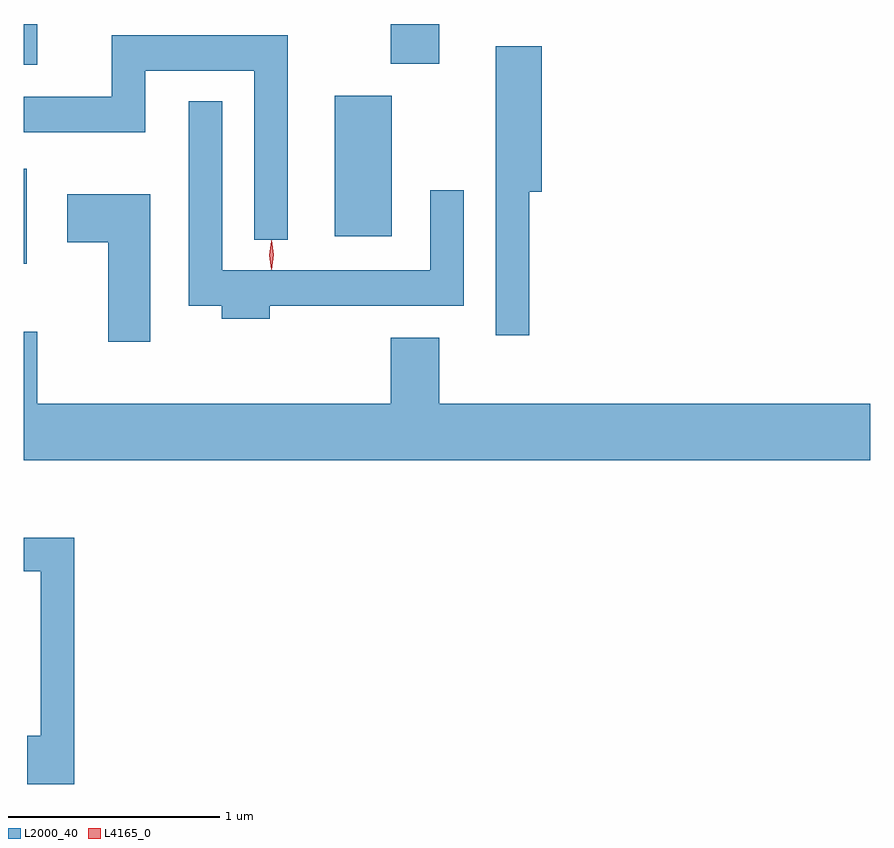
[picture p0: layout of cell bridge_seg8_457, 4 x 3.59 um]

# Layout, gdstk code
import gdstk
lib = gdstk.Library(unit=1e-6, precision=1e-09)
def R(c, l, rs):  # rectangles x0, y0, x1, y1
    for r in rs: c.add(gdstk.rectangle(r[:2], r[2:], *l))
def P(c, l, *ps):  # polygons
    for p in ps: c.add(gdstk.Polygon(p, *l))
L2000_40 = (2000, 40)
L4165_0 = (4165, 0)

bridge_seg8_457 = lib.new_cell('bridge_seg8_457')
R(bridge_seg8_457, L2000_40, [(566.396,1935.026,566.409,1935.474), (567.866,1935.156,568.134,1935.819), (566.396,1935.966,566.459,1936.158), (568.131,1935.971,568.359,1936.158)])
P(bridge_seg8_457, L2000_40, [(567.644,1936.104),(566.811,1936.104),(566.811,1935.814),(566.396,1935.814),(566.396,1935.646),(566.969,1935.646),(566.969,1935.936),(567.486,1935.936),(567.486,1935.138),(567.644,1935.138)],
  [(568.784,1935.366),(568.844,1935.366),(568.844,1936.054),(568.626,1936.054),(568.626,1934.688),(568.784,1934.688)],
  [(567.559,1934.826),(568.474,1934.826),(568.474,1935.373),(568.316,1935.373),(568.316,1934.994),(567.334,1934.994),(567.334,1935.793),(567.176,1935.793),(567.176,1934.826),(567.331,1934.826),(567.331,1934.766),(567.559,1934.766)],
  [(566.994,1935.354),(566.601,1935.354),(566.601,1935.126),(566.796,1935.126),(566.796,1934.656),(566.994,1934.656)],
  [(570.396,1934.364),(568.359,1934.364),(568.359,1934.674),(568.131,1934.674),(568.131,1934.364),(566.459,1934.364),(566.459,1934.704),(566.396,1934.704),(566.396,1934.096),(570.396,1934.096)],
  [(566.634,1933.729),(566.396,1933.729),(566.396,1933.571),(566.476,1933.571),(566.476,1932.794),(566.411,1932.794),(566.411,1932.566),(566.634,1932.566)])
P(bridge_seg8_457, L4165_0, [(567.567,1934.997),(567.558,1935.067),(567.567,1935.136),(567.568,1935.136),(567.568,1935.136),(567.578,1935.067),(567.568,1934.997),(567.568,1934.997)],
  [(567.565,1935),(567.556,1935.066),(567.565,1935.132),(567.566,1935.133),(567.566,1935.132),(567.576,1935.066),(567.566,1935),(567.566,1935)])

lib.write_gds('bridge_seg8_457.gds')
